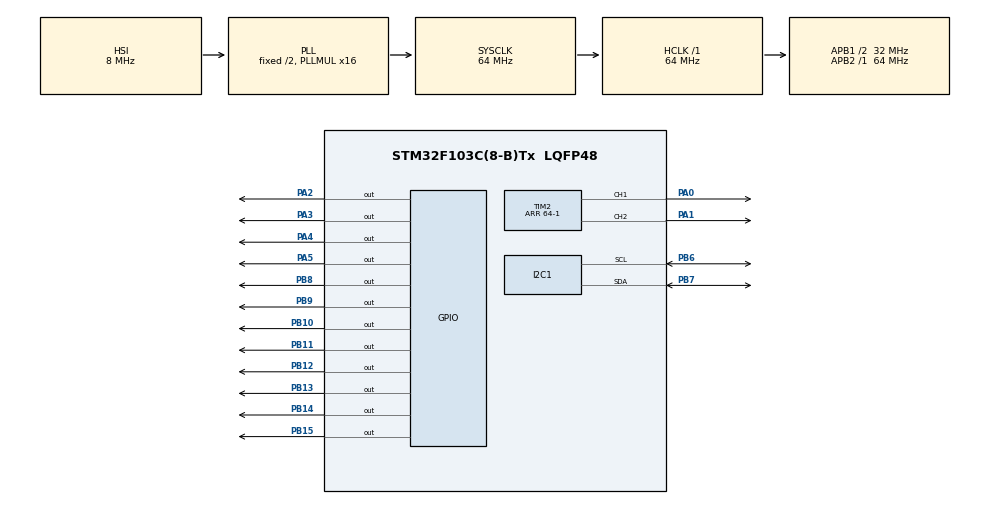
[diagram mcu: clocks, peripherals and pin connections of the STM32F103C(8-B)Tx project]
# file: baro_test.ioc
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Dma.Request0=TIM2_CH2/CH4
Dma.TIM2_CH2/CH4.0.Direction=DMA_MEMORY_TO_PERIPH
Dma.TIM2_CH2/CH4.0.Instance=DMA1_Channel7
Dma.TIM2_CH2/CH4.0.MemDataAlignment=DMA_MDATAALIGN_HALFWORD
Dma.TIM2_CH2/CH4.0.MemInc=DMA_MINC_ENABLE
Dma.TIM2_CH2/CH4.0.Mode=DMA_NORMAL
Dma.TIM2_CH2/CH4.0.PeriphDataAlignment=DMA_PDATAALIGN_HALFWORD
Dma.TIM2_CH2/CH4.0.PeriphInc=DMA_PINC_DISABLE
Dma.TIM2_CH2/CH4.0.Priority=DMA_PRIORITY_LOW
Mcu.Family=STM32F1
Mcu.Name=STM32F103C(8-B)Tx
Mcu.Package=LQFP48
NVIC.DMA1_Channel7_IRQn=true\:0\:0\:false\:false\:true\:false\:true\:true
NVIC.PriorityGroup=NVIC_PRIORITYGROUP_4
PA0-WKUP.Signal=S_TIM2_CH1_ETR
PA1.Signal=S_TIM2_CH2
PA2.Signal=GPIO_Output
PA3.Signal=GPIO_Output
PA4.Signal=GPIO_Output
PA5.Signal=GPIO_Output
PB10.Signal=GPIO_Output
PB11.Signal=GPIO_Output
PB12.Signal=GPIO_Output
PB13.Signal=GPIO_Output
PB14.Signal=GPIO_Output
PB15.Signal=GPIO_Output
PB6.Mode=I2C
PB6.Signal=I2C1_SCL
PB7.Mode=I2C
PB7.Signal=I2C1_SDA
PB8.Signal=GPIO_Output
PB9.Signal=GPIO_Output
ProjectManager.HeapSize=0x200
ProjectManager.StackSize=0x400
ProjectManager.TargetToolchain=STM32CubeIDE
RCC.ADCPresc=RCC_ADCPCLK2_DIV6
RCC.AHBFreq_Value=64000000
RCC.APB1CLKDivider=RCC_HCLK_DIV2
RCC.APB1Freq_Value=32000000
RCC.APB1TimFreq_Value=64000000
RCC.APB2Freq_Value=64000000
RCC.APB2TimFreq_Value=64000000
RCC.HCLKFreq_Value=64000000
RCC.PLLMUL=RCC_PLL_MUL16
RCC.SYSCLKFreq_VALUE=64000000
RCC.SYSCLKSource=RCC_SYSCLKSOURCE_PLLCLK
RCC.USBFreq_Value=64000000
SH.S_TIM2_CH1_ETR.0=TIM2_CH1,PWM Generation1 CH1
SH.S_TIM2_CH2.0=TIM2_CH2,PWM Generation2 CH2
TIM1.Prescaler=4-1
TIM2.Channel-PWM\ Generation1\ CH1=TIM_CHANNEL_1
TIM2.Channel-PWM\ Generation2\ CH2=TIM_CHANNEL_2
TIM2.Period=64-1
VP_TIM1_VS_ClockSourceINT.Mode=Internal
VP_TIM2_VS_ClockSourceINT.Mode=Internal
board=custom

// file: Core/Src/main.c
/* USER CODE BEGIN Header */
/**
  ******************************************************************************
  * @file           : main.c
  * @brief          : Main program body
  ******************************************************************************
  * @attention
  *
  * Copyright (c) 2023 STMicroelectronics.
  * All rights reserved.
  *
  * This software is licensed under terms that can be found in the LICENSE file
  * in the root directory of this software component.
  * If no LICENSE file comes with this software, it is provided AS-IS.
  *
  ******************************************************************************
  */
/* USER CODE END Header */
#include "main.h"

/* USER CODE BEGIN Includes */
#include "bmp581.h"
#include "led_strip.h"
/* USER CODE END Includes */

I2C_HandleTypeDef hi2c1;

TIM_HandleTypeDef htim1;
TIM_HandleTypeDef htim2;
DMA_HandleTypeDef hdma_tim2_ch2_ch4;

void SystemClock_Config(void);
static void MX_GPIO_Init(void);
static void MX_DMA_Init(void);
static void MX_I2C1_Init(void);
static void MX_TIM2_Init(void);
static void MX_TIM1_Init(void);

int main(void)
{

  /* MCU Configuration--------------------------------------------------------*/

  /* Reset of all peripherals, Initializes the Flash interface and the Systick. */
  HAL_Init();

  /* Configure the system clock */
  SystemClock_Config();

  /* Initialize all configured peripherals */
  MX_GPIO_Init();
  MX_DMA_Init();
  MX_I2C1_Init();
  MX_TIM2_Init();
  MX_TIM1_Init();
  /* USER CODE BEGIN 2 */
  Strip_Set_Timer(&htim2);
  Strip_Clear();

  BMP_Init_Default_Addr(&hi2c1);
  enum BMP_Power_Mode bmp_mode = BMP_Get_Mode();
  uint8_t bmp_status = BMP_Get_Device_Status();
  uint32_t temp_c = 0;
  uint32_t ref_pressure = 0;
  BMP_Read_Data(&temp_c, &ref_pressure);
  double alt = 0.0;
  /* USER CODE END 2 */

  /* Infinite loop */
  /* USER CODE BEGIN WHILE */
  while (1)
  {
	Set_Brightness(20);
	alt = BMP_Get_RelAlt_Ft(ref_pressure);
	uint32_t test = temp_c - 25;
	Strip_Progress_Bar_Single_Color(test, GREEN);
	Strip_Send();
	HAL_Delay(10);
    /* USER CODE END WHILE */

  }
}

void SystemClock_Config(void)
{
  RCC_OscInitTypeDef RCC_OscInitStruct = {0};
  RCC_ClkInitTypeDef RCC_ClkInitStruct = {0};

  /** Initializes the RCC Oscillators according to the specified parameters
  * in the RCC_OscInitTypeDef structure.
  */
  RCC_OscInitStruct.OscillatorType = RCC_OSCILLATORTYPE_HSI;
  RCC_OscInitStruct.HSIState = RCC_HSI_ON;
  RCC_OscInitStruct.HSICalibrationValue = RCC_HSICALIBRATION_DEFAULT;
  RCC_OscInitStruct.PLL.PLLState = RCC_PLL_ON;
  RCC_OscInitStruct.PLL.PLLSource = RCC_PLLSOURCE_HSI_DIV2;
  RCC_OscInitStruct.PLL.PLLMUL = RCC_PLL_MUL16;
  if (HAL_RCC_OscConfig(&RCC_OscInitStruct) != HAL_OK)
  {
    Error_Handler();
  }

  /** Initializes the CPU, AHB and APB buses clocks
  */
  RCC_ClkInitStruct.ClockType = RCC_CLOCKTYPE_HCLK|RCC_CLOCKTYPE_SYSCLK
                              |RCC_CLOCKTYPE_PCLK1|RCC_CLOCKTYPE_PCLK2;
  RCC_ClkInitStruct.SYSCLKSource = RCC_SYSCLKSOURCE_PLLCLK;
  RCC_ClkInitStruct.AHBCLKDivider = RCC_SYSCLK_DIV1;
  RCC_ClkInitStruct.APB1CLKDivider = RCC_HCLK_DIV2;
  RCC_ClkInitStruct.APB2CLKDivider = RCC_HCLK_DIV1;

  if (HAL_RCC_ClockConfig(&RCC_ClkInitStruct, FLASH_LATENCY_2) != HAL_OK)
  {
    Error_Handler();
  }
}

static void MX_I2C1_Init(void)
{

  hi2c1.Instance = I2C1;
  hi2c1.Init.ClockSpeed = 100000;
  hi2c1.Init.DutyCycle = I2C_DUTYCYCLE_2;
  hi2c1.Init.OwnAddress1 = 0;
  hi2c1.Init.AddressingMode = I2C_ADDRESSINGMODE_7BIT;
  hi2c1.Init.DualAddressMode = I2C_DUALADDRESS_DISABLE;
  hi2c1.Init.OwnAddress2 = 0;
  hi2c1.Init.GeneralCallMode = I2C_GENERALCALL_DISABLE;
  hi2c1.Init.NoStretchMode = I2C_NOSTRETCH_DISABLE;
  if (HAL_I2C_Init(&hi2c1) != HAL_OK)
  {
    Error_Handler();
  }

}

static void MX_TIM1_Init(void)
{

  TIM_ClockConfigTypeDef sClockSourceConfig = {0};
  TIM_MasterConfigTypeDef sMasterConfig = {0};

  htim1.Instance = TIM1;
  htim1.Init.Prescaler = 4-1;
  htim1.Init.CounterMode = TIM_COUNTERMODE_UP;
  htim1.Init.Period = 65535;
  htim1.Init.ClockDivision = TIM_CLOCKDIVISION_DIV1;
  htim1.Init.RepetitionCounter = 0;
  htim1.Init.AutoReloadPreload = TIM_AUTORELOAD_PRELOAD_DISABLE;
  if (HAL_TIM_Base_Init(&htim1) != HAL_OK)
  {
    Error_Handler();
  }
  sClockSourceConfig.ClockSource = TIM_CLOCKSOURCE_INTERNAL;
  if (HAL_TIM_ConfigClockSource(&htim1, &sClockSourceConfig) != HAL_OK)
  {
    Error_Handler();
  }
  sMasterConfig.MasterOutputTrigger = TIM_TRGO_RESET;
  sMasterConfig.MasterSlaveMode = TIM_MASTERSLAVEMODE_DISABLE;
  if (HAL_TIMEx_MasterConfigSynchronization(&htim1, &sMasterConfig) != HAL_OK)
  {
    Error_Handler();
  }

}

static void MX_TIM2_Init(void)
{

  TIM_ClockConfigTypeDef sClockSourceConfig = {0};
  TIM_MasterConfigTypeDef sMasterConfig = {0};
  TIM_OC_InitTypeDef sConfigOC = {0};

  htim2.Instance = TIM2;
  htim2.Init.Prescaler = 0;
  htim2.Init.CounterMode = TIM_COUNTERMODE_UP;
  htim2.Init.Period = 64-1;
  htim2.Init.ClockDivision = TIM_CLOCKDIVISION_DIV1;
  htim2.Init.AutoReloadPreload = TIM_AUTORELOAD_PRELOAD_DISABLE;
  if (HAL_TIM_Base_Init(&htim2) != HAL_OK)
  {
    Error_Handler();
  }
  sClockSourceConfig.ClockSource = TIM_CLOCKSOURCE_INTERNAL;
  if (HAL_TIM_ConfigClockSource(&htim2, &sClockSourceConfig) != HAL_OK)
  {
    Error_Handler();
  }
  if (HAL_TIM_PWM_Init(&htim2) != HAL_OK)
  {
    Error_Handler();
  }
  sMasterConfig.MasterOutputTrigger = TIM_TRGO_RESET;
  sMasterConfig.MasterSlaveMode = TIM_MASTERSLAVEMODE_DISABLE;
  if (HAL_TIMEx_MasterConfigSynchronization(&htim2, &sMasterConfig) != HAL_OK)
  {
    Error_Handler();
  }
  sConfigOC.OCMode = TIM_OCMODE_PWM1;
  sConfigOC.Pulse = 0;
  sConfigOC.OCPolarity = TIM_OCPOLARITY_HIGH;
  sConfigOC.OCFastMode = TIM_OCFAST_DISABLE;
  if (HAL_TIM_PWM_ConfigChannel(&htim2, &sConfigOC, TIM_CHANNEL_1) != HAL_OK)
  {
    Error_Handler();
  }
  if (HAL_TIM_PWM_ConfigChannel(&htim2, &sConfigOC, TIM_CHANNEL_2) != HAL_OK)
  {
    Error_Handler();
  }
  HAL_TIM_MspPostInit(&htim2);

}

static void MX_DMA_Init(void)
{

  /* DMA controller clock enable */
  __HAL_RCC_DMA1_CLK_ENABLE();

  /* DMA interrupt init */
  /* DMA1_Channel7_IRQn interrupt configuration */
  HAL_NVIC_SetPriority(DMA1_Channel7_IRQn, 0, 0);
  HAL_NVIC_EnableIRQ(DMA1_Channel7_IRQn);

}

static void MX_GPIO_Init(void)
{
  GPIO_InitTypeDef GPIO_InitStruct = {0};

  /* GPIO Ports Clock Enable */
  __HAL_RCC_GPIOA_CLK_ENABLE();
  __HAL_RCC_GPIOB_CLK_ENABLE();

  /*Configure GPIO pin Output Level */
  HAL_GPIO_WritePin(GPIOA, GPIO_PIN_2|GPIO_PIN_3|GPIO_PIN_4|GPIO_PIN_5, GPIO_PIN_RESET);

  /*Configure GPIO pin Output Level */
  HAL_GPIO_WritePin(GPIOB, GPIO_PIN_10|GPIO_PIN_11|GPIO_PIN_12|GPIO_PIN_13
                          |GPIO_PIN_14|GPIO_PIN_15|GPIO_PIN_8|GPIO_PIN_9, GPIO_PIN_RESET);

  /*Configure GPIO pins : PA2 PA3 PA4 PA5 */
  GPIO_InitStruct.Pin = GPIO_PIN_2|GPIO_PIN_3|GPIO_PIN_4|GPIO_PIN_5;
  GPIO_InitStruct.Mode = GPIO_MODE_OUTPUT_PP;
  GPIO_InitStruct.Pull = GPIO_NOPULL;
  GPIO_InitStruct.Speed = GPIO_SPEED_FREQ_LOW;
  HAL_GPIO_Init(GPIOA, &GPIO_InitStruct);

  /*Configure GPIO pins : PB10 PB11 PB12 PB13
                           PB14 PB15 PB8 PB9 */
  GPIO_InitStruct.Pin = GPIO_PIN_10|GPIO_PIN_11|GPIO_PIN_12|GPIO_PIN_13
                          |GPIO_PIN_14|GPIO_PIN_15|GPIO_PIN_8|GPIO_PIN_9;
  GPIO_InitStruct.Mode = GPIO_MODE_OUTPUT_PP;
  GPIO_InitStruct.Pull = GPIO_NOPULL;
  GPIO_InitStruct.Speed = GPIO_SPEED_FREQ_LOW;
  HAL_GPIO_Init(GPIOB, &GPIO_InitStruct);

}

void Error_Handler(void)
{
  __disable_irq();
  while (1)
  {
  }
}
